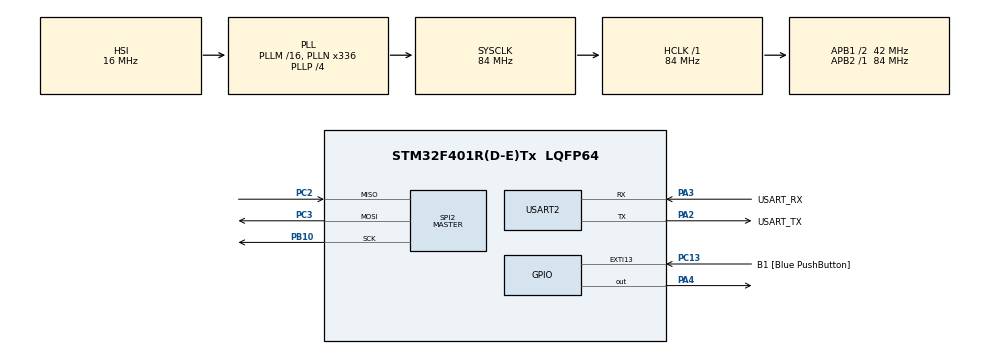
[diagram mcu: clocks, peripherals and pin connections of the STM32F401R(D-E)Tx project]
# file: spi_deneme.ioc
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Mcu.Family=STM32F4
Mcu.Name=STM32F401R(D-E)Tx
Mcu.Package=LQFP64
NVIC.PriorityGroup=NVIC_PRIORITYGROUP_0
PA13.GPIO_Label=TMS
PA13.Mode=Serial_Wire
PA13.Signal=SYS_JTMS-SWDIO
PA14.GPIO_Label=TCK
PA14.Mode=Serial_Wire
PA14.Signal=SYS_JTCK-SWCLK
PA2.GPIO_Label=USART_TX
PA2.GPIO_Mode=GPIO_MODE_AF_PP
PA2.GPIO_PuPd=GPIO_NOPULL
PA2.GPIO_Speed=GPIO_SPEED_FREQ_LOW
PA2.Mode=Asynchronous
PA2.Signal=USART2_TX
PA3.GPIO_Label=USART_RX
PA3.GPIO_Mode=GPIO_MODE_AF_PP
PA3.GPIO_PuPd=GPIO_NOPULL
PA3.GPIO_Speed=GPIO_SPEED_FREQ_LOW
PA3.Mode=Asynchronous
PA3.Signal=USART2_RX
PA4.Signal=GPIO_Output
PB10.Mode=Full_Duplex_Master
PB10.Signal=SPI2_SCK
PB3.GPIO_Label=SWO
PB3.Signal=SYS_JTDO-SWO
PC13-ANTI_TAMP.GPIO_Label=B1 [Blue PushButton]
PC13-ANTI_TAMP.GPIO_ModeDefaultEXTI=GPIO_MODE_IT_FALLING
PC13-ANTI_TAMP.GPIO_PuPd=GPIO_NOPULL
PC13-ANTI_TAMP.Signal=GPXTI13
PC14-OSC32_IN.Mode=LSE-External-Oscillator
PC14-OSC32_IN.Signal=RCC_OSC32_IN
PC15-OSC32_OUT.Mode=LSE-External-Oscillator
PC15-OSC32_OUT.Signal=RCC_OSC32_OUT
PC2.Mode=Full_Duplex_Master
PC2.Signal=SPI2_MISO
PC3.Mode=Full_Duplex_Master
PC3.Signal=SPI2_MOSI
PH0\ -\ OSC_IN.Mode=HSE-External-Clock-Source
PH0\ -\ OSC_IN.Signal=RCC_OSC_IN
PH1\ -\ OSC_OUT.Mode=HSE-External-Clock-Source
PH1\ -\ OSC_OUT.Signal=RCC_OSC_OUT
ProjectManager.HeapSize=0x200
ProjectManager.StackSize=0x400
ProjectManager.TargetToolchain=STM32CubeIDE
RCC.48MHZClocksFreq_Value=48000000
RCC.AHBFreq_Value=84000000
RCC.APB1CLKDivider=RCC_HCLK_DIV2
RCC.APB1Freq_Value=42000000
RCC.APB1TimFreq_Value=84000000
RCC.APB2Freq_Value=84000000
RCC.APB2TimFreq_Value=84000000
RCC.CortexFreq_Value=84000000
RCC.HCLKFreq_Value=84000000
RCC.HSE_VALUE=8000000
RCC.HSI_VALUE=16000000
RCC.PLLN=336
RCC.PLLP=RCC_PLLP_DIV4
RCC.PLLQ=7
RCC.SYSCLKFreq_VALUE=84000000
RCC.SYSCLKSource=RCC_SYSCLKSOURCE_PLLCLK
RCC.VCOOutputFreq_Value=336000000
SPI2.BaudRatePrescaler=SPI_BAUDRATEPRESCALER_128
SPI2.Direction=SPI_DIRECTION_2LINES
SPI2.Mode=SPI_MODE_MASTER
SPI2.VirtualType=VM_MASTER
USART2.VirtualMode=VM_ASYNC
board=NUCLEO-F401RE

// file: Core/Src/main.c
/* USER CODE BEGIN Header */
/**
  ******************************************************************************
  * @file           : main.c
  * @brief          : Main program body
  ******************************************************************************
  * @attention
  *
  * <h2><center>&copy; Copyright (c) 2021 STMicroelectronics.
  * All rights reserved.</center></h2>
  *
  * This software component is licensed by ST under BSD 3-Clause license,
  * the "License"; You may not use this file except in compliance with the
  * License. You may obtain a copy of the License at:
  *                        opensource.org/licenses/BSD-3-Clause
  *
  ******************************************************************************
  */
/* USER CODE END Header */
#include "main.h"
#include "library.h"

SPI_HandleTypeDef hspi2;

UART_HandleTypeDef huart2;

/* USER CODE BEGIN PV */
// 5 6 3 4 1 2 mac address order
//uint8_t i, my_mac_adr[] ={0xDE,0xAD,0xBE,0xEF,0xFE,0xED };
//uint8_t i, my_mac_adr[] ={0x32,0x12,0xad,0x0a,0x11,0x22 };
uint8_t i, my_mac_adr[] ={0xFE,0xED,0xad,0x0a,0xDE,0xAD };
/* USER CODE END PV */

void SystemClock_Config(void);
static void MX_GPIO_Init(void);
static void MX_USART2_UART_Init(void);
static void MX_SPI2_Init(void);

/* USER CODE BEGIN 0 */
uint8_t spiData[2]={0, 0};

uint8_t incomingdata[42]={0};
uint8_t dat[7] = "hello\n\r";
uint8_t padding_data[0x50-42]={0};

uint8_t mydata[42] ={ 0xFF,0xFF,0xFF,0xFF,0xFF,0xFF,	// mac address router 0x00,0x12,0x17,0x6f,0xc7,0x19,
					  0x80,0xFA,0x5B,0x8E,0x74,0xA3,	// PC mac address
                      0x08,0x06, 						// Ether type (ARP)
                      0x00,0x01,						// HTYPE (Ethernet)
                      0x08,0x00,						// IP
                      0x06,								// HLEN (6)
                      0x04,								// PLEN (4)
                      0x00,0x01,						// OPCODE (Request)
					  0xDE,0xAD,0xBE,0xEF,0xFE,0xED, 	// Sender Mac(PC)
                      0xC0,0xA8,0x00,0x01,				// Sender IP(PC)
                      0x00,0x00,0x00,0x00,0x00,0x00,	// Target Mac(deafult)
                      0xC0,0xA8,0x00,0x12};				// Target IP(Router)

/* USER CODE END 0 */

int main(void)
{

  /* MCU Configuration--------------------------------------------------------*/

  /* Reset of all peripherals, Initializes the Flash interface and the Systick. */
  HAL_Init();

  /* Configure the system clock */
  SystemClock_Config();

  /* Initialize all configured peripherals */
  MX_GPIO_Init();
  MX_USART2_UART_Init();
  MX_SPI2_Init();
  /* USER CODE BEGIN 2 */

  // MAC Initialization
  Enc_Set_Bank(BANK_2);

  Enc_Write_Cont_Reg8(MACON1, MACON1_RXPAUS | MACON1_TXPAUS | MACON1_MARXEN);

  Enc_Write_Cont_Reg8(MACON3, MACON3_PADCFG0 | MACON3_FRMLNEN | MACON3_TXCRCEN);

  Enc_Write_Cont_Reg8(MACON4, MACON4_DEFER);

  Enc_Write_Cont_Reg16(MAMXFLL, MAX_FRAMELEN);

  Enc_Write_Cont_Reg8(MABBIPG, 0x15);

  Enc_Write_Cont_Reg16(MAIPGL, 0x12);

  // MAC addresses
  uint8_t i ;
  for (i = 0 ; i < sizeof(my_mac_adr)  ;i++ )
	  Enc_Write_Cont_Reg8(i++, my_mac_adr[i]);

  /// SET THE TX BUFFER, START PART
  Enc_Set_Bank(BANK_0);

  Enc_Write_Cont_Reg16(EWRPTL, TXSTART_INIT);

  /// SET AUTO INCREMENT
  Enc_Write_Cont_Reg8(ECON2,ECON2_AUTOINC);

  HAL_Delay(500);

  ////////////////////////////////////////////
  // Write Message to Memory

  for ( i = 0 ; i < TXSTOP_INIT ;i++ )
	  if (i < sizeof(mydata))
		  Enc_Write_Operation(ENC28_WRITE_BUFFER_MEMORY_OP, ENC28_WRITE_READ_BUFFER_MEMORY_ADDRESS, mydata[i]);
	  else
		  Enc_Write_Operation(ENC28_WRITE_BUFFER_MEMORY_OP, ENC28_WRITE_READ_BUFFER_MEMORY_ADDRESS, i);

  Enc_Write_Cont_Reg16(ETXND, TXSTOP_INIT); // transmit border

  // check the Status Vector
//  a = Enc_Read_Cont_Reg8(ESTAT); //check if the transmission is successful in TXABRT (bit 1)

  // assign the read pointer
  Enc_Write_Cont_Reg16(ERDPT, RXSTART_INIT);

  HAL_Delay(500);

  //////////////////////////////////////////////
  // Reading the Memory to see Do we have right message in memory
  for ( i = 0 ; i < sizeof(mydata) ;i++ )
	  incomingdata[i] = Enc_Read_Operation(ENC28_READ_BUFFER_MEMORY, ENC28_WRITE_READ_BUFFER_MEMORY_ADDRESS);

  /* USER CODE END 2 */

  /* Infinite loop */
  while (1)
  {

    /* USER CODE BEGIN 3 */
	 // HAL_Delay(1500);
	  HAL_UART_Transmit(&huart2, (uint8_t *)dat, 5, 10);

	  Enc_Write_Cont_Reg8(ECON1, ECON1_TXRTS);	  // Start transmission process by setting ECON1.TXRST

  }
  /* USER CODE END 3 */
}

void SystemClock_Config(void)
{
  RCC_OscInitTypeDef RCC_OscInitStruct = {0};
  RCC_ClkInitTypeDef RCC_ClkInitStruct = {0};

  /** Configure the main internal regulator output voltage
  */
  __HAL_RCC_PWR_CLK_ENABLE();
  __HAL_PWR_VOLTAGESCALING_CONFIG(PWR_REGULATOR_VOLTAGE_SCALE2);
  /** Initializes the RCC Oscillators according to the specified parameters
  * in the RCC_OscInitTypeDef structure.
  */
  RCC_OscInitStruct.OscillatorType = RCC_OSCILLATORTYPE_HSI;
  RCC_OscInitStruct.HSIState = RCC_HSI_ON;
  RCC_OscInitStruct.HSICalibrationValue = RCC_HSICALIBRATION_DEFAULT;
  RCC_OscInitStruct.PLL.PLLState = RCC_PLL_ON;
  RCC_OscInitStruct.PLL.PLLSource = RCC_PLLSOURCE_HSI;
  RCC_OscInitStruct.PLL.PLLM = 16;
  RCC_OscInitStruct.PLL.PLLN = 336;
  RCC_OscInitStruct.PLL.PLLP = RCC_PLLP_DIV4;
  RCC_OscInitStruct.PLL.PLLQ = 7;
  if (HAL_RCC_OscConfig(&RCC_OscInitStruct) != HAL_OK)
  {
    Error_Handler();
  }
  /** Initializes the CPU, AHB and APB buses clocks
  */
  RCC_ClkInitStruct.ClockType = RCC_CLOCKTYPE_HCLK|RCC_CLOCKTYPE_SYSCLK
                              |RCC_CLOCKTYPE_PCLK1|RCC_CLOCKTYPE_PCLK2;
  RCC_ClkInitStruct.SYSCLKSource = RCC_SYSCLKSOURCE_PLLCLK;
  RCC_ClkInitStruct.AHBCLKDivider = RCC_SYSCLK_DIV1;
  RCC_ClkInitStruct.APB1CLKDivider = RCC_HCLK_DIV2;
  RCC_ClkInitStruct.APB2CLKDivider = RCC_HCLK_DIV1;

  if (HAL_RCC_ClockConfig(&RCC_ClkInitStruct, FLASH_LATENCY_2) != HAL_OK)
  {
    Error_Handler();
  }
}

static void MX_SPI2_Init(void)
{

  /* SPI2 parameter configuration*/
  hspi2.Instance = SPI2;
  hspi2.Init.Mode = SPI_MODE_MASTER;
  hspi2.Init.Direction = SPI_DIRECTION_2LINES;
  hspi2.Init.DataSize = SPI_DATASIZE_8BIT;
  hspi2.Init.CLKPolarity = SPI_POLARITY_LOW;
  hspi2.Init.CLKPhase = SPI_PHASE_1EDGE;
  hspi2.Init.NSS = SPI_NSS_SOFT;
  hspi2.Init.BaudRatePrescaler = SPI_BAUDRATEPRESCALER_128;
  hspi2.Init.FirstBit = SPI_FIRSTBIT_MSB;
  hspi2.Init.TIMode = SPI_TIMODE_DISABLE;
  hspi2.Init.CRCCalculation = SPI_CRCCALCULATION_DISABLE;
  hspi2.Init.CRCPolynomial = 10;
  if (HAL_SPI_Init(&hspi2) != HAL_OK)
  {
    Error_Handler();
  }

}

static void MX_USART2_UART_Init(void)
{

  huart2.Instance = USART2;
  huart2.Init.BaudRate = 115200;
  huart2.Init.WordLength = UART_WORDLENGTH_8B;
  huart2.Init.StopBits = UART_STOPBITS_1;
  huart2.Init.Parity = UART_PARITY_NONE;
  huart2.Init.Mode = UART_MODE_TX_RX;
  huart2.Init.HwFlowCtl = UART_HWCONTROL_NONE;
  huart2.Init.OverSampling = UART_OVERSAMPLING_16;
  if (HAL_UART_Init(&huart2) != HAL_OK)
  {
    Error_Handler();
  }

}

static void MX_GPIO_Init(void)
{
  GPIO_InitTypeDef GPIO_InitStruct = {0};

  /* GPIO Ports Clock Enable */
  __HAL_RCC_GPIOC_CLK_ENABLE();
  __HAL_RCC_GPIOH_CLK_ENABLE();
  __HAL_RCC_GPIOA_CLK_ENABLE();
  __HAL_RCC_GPIOB_CLK_ENABLE();

  /*Configure GPIO pin Output Level */
  HAL_GPIO_WritePin(GPIOA, GPIO_PIN_4, GPIO_PIN_RESET);

  /*Configure GPIO pin : B1_Pin */
  GPIO_InitStruct.Pin = B1_Pin;
  GPIO_InitStruct.Mode = GPIO_MODE_IT_FALLING;
  GPIO_InitStruct.Pull = GPIO_NOPULL;
  HAL_GPIO_Init(B1_GPIO_Port, &GPIO_InitStruct);

  /*Configure GPIO pin : PA4 */
  GPIO_InitStruct.Pin = GPIO_PIN_4;
  GPIO_InitStruct.Mode = GPIO_MODE_OUTPUT_PP;
  GPIO_InitStruct.Pull = GPIO_NOPULL;
  GPIO_InitStruct.Speed = GPIO_SPEED_FREQ_LOW;
  HAL_GPIO_Init(GPIOA, &GPIO_InitStruct);

}

void Error_Handler(void)
{
  __disable_irq();
  while (1)
  {
  }
}

/************************ (C) COPYRIGHT STMicroelectronics *****END OF FILE****/
